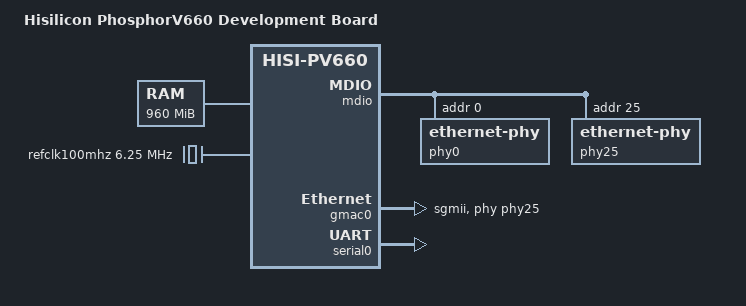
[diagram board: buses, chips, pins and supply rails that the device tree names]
/**
 * dts file for Hisilicon Hi1610
 *
 * Copyright (C) 2014, Hisilicon Ltd.
 *
 * This program is free software; you can redistribute it and/or modify
 * it under the terms of the GNU General Public License version 2 as
 * publishhed by the Free Software Foundation.
 *
 */

/dts-v1/;

/memreserve/ 0x00000000 0x00010000;

/ {
	#address-cells = <2>;
	#size-cells = <2>;
	model = "Hisilicon PhosphorV660 Development Board";
	compatible = "hisilicon,hip05-D02", "hisilicon,hisi-pv660";
	interrupt-parent = <&gic>;

	cpus {
		#address-cells = <1>;
		#size-cells = <0>;

		cpu@20000 {
			device_type = "cpu";
			compatible = "arm,armv8";
			reg = <0x20000>;
			enable-method = "spin-table";
			cpu-release-addr = <0x0 0xfff8>;
		};
	};

	memory@0 {
		device_type = "memory";
		reg = <0x0 0x00000000 0x0 0x3c000000>;
	};

	gic: interrupt-controller@6d000000 {
		compatible = "hisilicon,gic-v3";
		#interrupt-cells = <3>;
		#address-cells = <2>;
		#size-cells = <2>;
		ranges;
		interrupt-controller;
		#redistributor-regions = <1>;
		redistributor-stride = <0x0 0x30000>;
		reg = <0x0 0x6d000000 0x0 0x10000>,	/* GICD */
		      <0x0 0x6d100000 0x0 0x300000>,	/* GICR c*/
		      <0x0 0xfe000000 0x0 0x10000>;	/* GICC */

		its: mbi-controller@0xc6000000 {
			compatible = "arm,gic-v3-its";
			msi-controller;
			reg = <0x0 0xc6000000 0x0 0x1000000>;
		};
	};

	timer {
		compatible = "arm,armv8-timer";
		interrupts = <1 13 4>,
			     <1 14 4>,
			     <1 11 4>,
			     <1 10 4>;
	};

	sas: sas@a3000000 {
		compatible = "pv660, sas_controller";
		reg = <0 0xa3000000 0 0x10000>,
		      <0 0xc1000000 0 0x10000>;
		dma-coherent;
	};

	mdio {
		compatible = "hisilicon, hip05-mdio";
		reg = <0x0 0x603c0000 0x0 0x1000>;
		#address-cells = <0x1>;
		#size-cells = <0x0>;

		phy0: ethernet-phy@0 {
			compatile = "ethernet-phy-ieee802.3-c22";
			reg = <0>;
			max-speed = <10>;
		};

		phy25: ethernet-phy@25 {
			compatile = "ethernet-phy-ieee802.3-c22";
			reg = <25>;
			max-speed = <10>;
		};
	};

	ppe: ppe@c2000000 {
		compatible = "hisilicon, hip05-ppe", "syscon";
		reg = <0 0xc2000000 0 0x1000>;
	};

	ge: ge@c2001000 {
		compatible = "hisilicon, hip05-ge", "syscon";
		reg = <0 0xc2001000 0 0x1000>;
	};

	gmac0: ethernet@c2080000 {
		compatible = "hisilicon, hip05-mac";
		#address-cells = <1>;
		#size-cells = <0>;
		reg = <0 0xc2080000 0 0x20000>,
		      <0 0xc0000000 0 0x1000>;
		msi-parent = <&its>;
		mbi = <0x40b1c 9 0 2>;
		phy-mode = "sgmii";
		mac-address = [11 11 11 11 11 11];
		phy-handle = <&phy25>;
		ppe-handle = <&ppe 0>;
		ge-handle = <&ge 10 1>;
		dma-coherent;
	};

	pmu {
		compatible = "arm,armv8-pmuv3";
		interrupts = <1 7 4>;
	};

	peripherals {
		compatible = "simple-bus";
		#address-cells = <1>;
		#size-cells = <1>;
		ranges = <0x0 0x00000000 0x0 0xffffffff>;

		refclk100mhz: refclk100mhz {
			compatible = "fixed-clock";
			#clock-cells = <0>;
			clock-frequency = <6250000>;
		};

		serial0: uart@60300000 {
			compatible = "snps,dw-apb-uart";
			reg = <0x60300000 0x10000>;
			interrupts = <0 317 4>;
			clocks = <&refclk100mhz>;
			clock-names = "apb_pclk";
			reg-shift = <2>;
		};
	};

	chosen {
		bootargs = "rdinit=/init console=ttyS0 earlycon=uart8250,mmio32,0x60300000";
		linux,initrd-start = <0x7000000>;
		linux,initrd-end = <0xa000000>;
	};
};
